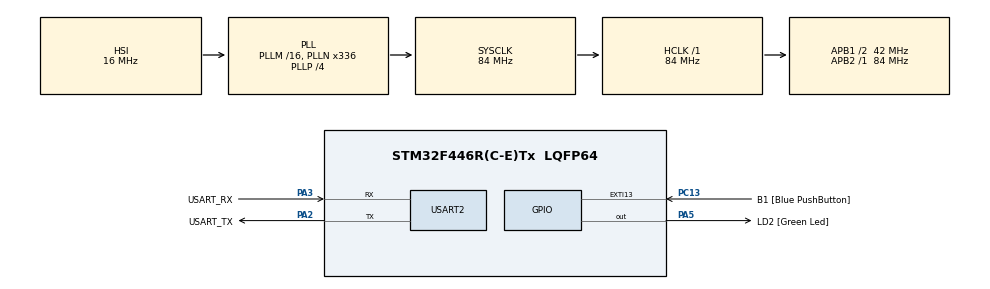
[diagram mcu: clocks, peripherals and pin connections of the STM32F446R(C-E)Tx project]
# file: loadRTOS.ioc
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Mcu.Family=STM32F4
Mcu.Name=STM32F446R(C-E)Tx
Mcu.Package=LQFP64
NVIC.PriorityGroup=NVIC_PRIORITYGROUP_0
NVIC.TIM1_UP_TIM10_IRQn=true\:0\:0\:false\:false\:true\:false\:true\:true
NVIC.TimeBase=TIM1_UP_TIM10_IRQn
NVIC.TimeBaseIP=TIM1
PA13.GPIO_Label=TMS
PA13.Mode=Serial_Wire
PA13.Signal=SYS_JTMS-SWDIO
PA14.GPIO_Label=TCK
PA14.Mode=Serial_Wire
PA14.Signal=SYS_JTCK-SWCLK
PA2.GPIO_Label=USART_TX
PA2.Mode=Asynchronous
PA2.Signal=USART2_TX
PA3.GPIO_Label=USART_RX
PA3.Mode=Asynchronous
PA3.Signal=USART2_RX
PA5.GPIO_Label=LD2 [Green Led]
PA5.Signal=GPIO_Output
PB3.GPIO_Label=SWO
PB3.Signal=SYS_JTDO-SWO
PC13.GPIO_Label=B1 [Blue PushButton]
PC13.GPIO_ModeDefaultEXTI=GPIO_MODE_IT_FALLING
PC13.Signal=GPXTI13
PC14-OSC32_IN.Mode=LSE-External-Oscillator
PC14-OSC32_IN.Signal=RCC_OSC32_IN
PC15-OSC32_OUT.Mode=LSE-External-Oscillator
PC15-OSC32_OUT.Signal=RCC_OSC32_OUT
PH0-OSC_IN.Mode=HSE-External-Oscillator
PH0-OSC_IN.Signal=RCC_OSC_IN
PH1-OSC_OUT.Mode=HSE-External-Oscillator
PH1-OSC_OUT.Signal=RCC_OSC_OUT
ProjectManager.HeapSize=0x200
ProjectManager.StackSize=0x400
ProjectManager.TargetToolchain=STM32CubeIDE
RCC.48MHZClocksFreq_Value=84000000
RCC.AHBFreq_Value=84000000
RCC.APB1CLKDivider=RCC_HCLK_DIV2
RCC.APB1Freq_Value=42000000
RCC.APB1TimFreq_Value=84000000
RCC.APB2Freq_Value=84000000
RCC.APB2TimFreq_Value=84000000
RCC.CortexFreq_Value=84000000
RCC.FLatency-AdvancedSettings=FLASH_LATENCY_2
RCC.HCLKFreq_Value=84000000
RCC.HSE_VALUE=8000000
RCC.HSI_VALUE=16000000
RCC.PLLN=336
RCC.PLLP=RCC_PLLP_DIV4
RCC.SYSCLKFreq_VALUE=84000000
RCC.SYSCLKSource=RCC_SYSCLKSOURCE_PLLCLK
RCC.USBFreq_Value=168000000
RCC.VCOOutputFreq_Value=336000000
USART2.VirtualMode=VM_ASYNC
VP_SYS_VS_tim1.Mode=TIM1
board=NUCLEO-F446RE

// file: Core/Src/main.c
#include<stm32f4xx_hal.h>
#include "ledBlink.h"
/* USER CODE BEGIN Header */
/**
  ******************************************************************************
  * @file           : main.c
  * @brief          : Main program body
  ******************************************************************************
  * @attention
  *
  * Copyright (c) 2026 STMicroelectronics.
  * All rights reserved.
  *
  * This software is licensed under terms that can be found in the LICENSE file
  * in the root directory of this software component.
  * If no LICENSE file comes with this software, it is provided AS-IS.
  *
  ******************************************************************************
  */
/* USER CODE END Header */
#include "main.h"

UART_HandleTypeDef huart2;

void SystemClock_Config(void);
static void MX_GPIO_Init(void);
static void MX_USART2_UART_Init(void);

int main(void)
{
  /* USER CODE BEGIN 1 */
	LED_init();
  /* USER CODE END 1 */

  /* MCU Configuration--------------------------------------------------------*/

  /* Reset of all peripherals, Initializes the Flash interface and the Systick. */
  HAL_Init();

  /* Configure the system clock */
  SystemClock_Config();

  /* Initialize all configured peripherals */
  MX_GPIO_Init();
  MX_USART2_UART_Init();

  /* Infinite loop */
  while (1)
  {

    /* USER CODE BEGIN 3 */
	  HAL_GPIO_TogglePin(GPIOC,GPIO_PIN_11);
	  HAL_Delay(100);
  }
  /* USER CODE END 3 */
}

void SystemClock_Config(void)
{
  RCC_OscInitTypeDef RCC_OscInitStruct = {0};
  RCC_ClkInitTypeDef RCC_ClkInitStruct = {0};

  /** Configure the main internal regulator output voltage
  */
  __HAL_RCC_PWR_CLK_ENABLE();
  __HAL_PWR_VOLTAGESCALING_CONFIG(PWR_REGULATOR_VOLTAGE_SCALE3);

  /** Initializes the RCC Oscillators according to the specified parameters
  * in the RCC_OscInitTypeDef structure.
  */
  RCC_OscInitStruct.OscillatorType = RCC_OSCILLATORTYPE_HSI;
  RCC_OscInitStruct.HSIState = RCC_HSI_ON;
  RCC_OscInitStruct.HSICalibrationValue = RCC_HSICALIBRATION_DEFAULT;
  RCC_OscInitStruct.PLL.PLLState = RCC_PLL_ON;
  RCC_OscInitStruct.PLL.PLLSource = RCC_PLLSOURCE_HSI;
  RCC_OscInitStruct.PLL.PLLM = 16;
  RCC_OscInitStruct.PLL.PLLN = 336;
  RCC_OscInitStruct.PLL.PLLP = RCC_PLLP_DIV4;
  RCC_OscInitStruct.PLL.PLLQ = 2;
  RCC_OscInitStruct.PLL.PLLR = 2;
  if (HAL_RCC_OscConfig(&RCC_OscInitStruct) != HAL_OK)
  {
    Error_Handler();
  }

  /** Initializes the CPU, AHB and APB buses clocks
  */
  RCC_ClkInitStruct.ClockType = RCC_CLOCKTYPE_HCLK|RCC_CLOCKTYPE_SYSCLK
                              |RCC_CLOCKTYPE_PCLK1|RCC_CLOCKTYPE_PCLK2;
  RCC_ClkInitStruct.SYSCLKSource = RCC_SYSCLKSOURCE_PLLCLK;
  RCC_ClkInitStruct.AHBCLKDivider = RCC_SYSCLK_DIV1;
  RCC_ClkInitStruct.APB1CLKDivider = RCC_HCLK_DIV2;
  RCC_ClkInitStruct.APB2CLKDivider = RCC_HCLK_DIV1;

  if (HAL_RCC_ClockConfig(&RCC_ClkInitStruct, FLASH_LATENCY_2) != HAL_OK)
  {
    Error_Handler();
  }
}

static void MX_USART2_UART_Init(void)
{

  huart2.Instance = USART2;
  huart2.Init.BaudRate = 115200;
  huart2.Init.WordLength = UART_WORDLENGTH_8B;
  huart2.Init.StopBits = UART_STOPBITS_1;
  huart2.Init.Parity = UART_PARITY_NONE;
  huart2.Init.Mode = UART_MODE_TX_RX;
  huart2.Init.HwFlowCtl = UART_HWCONTROL_NONE;
  huart2.Init.OverSampling = UART_OVERSAMPLING_16;
  if (HAL_UART_Init(&huart2) != HAL_OK)
  {
    Error_Handler();
  }

}

static void MX_GPIO_Init(void)
{
  GPIO_InitTypeDef GPIO_InitStruct = {0};

  /* GPIO Ports Clock Enable */
  __HAL_RCC_GPIOC_CLK_ENABLE();
  __HAL_RCC_GPIOH_CLK_ENABLE();
  __HAL_RCC_GPIOA_CLK_ENABLE();
  __HAL_RCC_GPIOB_CLK_ENABLE();

  /*Configure GPIO pin Output Level */
  HAL_GPIO_WritePin(LD2_GPIO_Port, LD2_Pin, GPIO_PIN_RESET);

  /*Configure GPIO pin : B1_Pin */
  GPIO_InitStruct.Pin = B1_Pin;
  GPIO_InitStruct.Mode = GPIO_MODE_IT_FALLING;
  GPIO_InitStruct.Pull = GPIO_NOPULL;
  HAL_GPIO_Init(B1_GPIO_Port, &GPIO_InitStruct);

  /*Configure GPIO pin : LD2_Pin */
  GPIO_InitStruct.Pin = LD2_Pin;
  GPIO_InitStruct.Mode = GPIO_MODE_OUTPUT_PP;
  GPIO_InitStruct.Pull = GPIO_NOPULL;
  GPIO_InitStruct.Speed = GPIO_SPEED_FREQ_LOW;
  HAL_GPIO_Init(LD2_GPIO_Port, &GPIO_InitStruct);

}

/* USER CODE BEGIN 4 */
void LED_init(void){
GPIO_InitTypeDef GPIOstruct={0};
//assign the clock to the LED PORT
__HAL_RCC_GPIOC_CLK_ENABLE();
GPIOstruct.Pin=LED_PIN;
GPIOstruct.Mode=GPIO_MODE_OUTPUT_PP;
GPIOstruct.Pull=GPIO_NOPULL;
GPIOstruct.Speed=GPIO_SPEED_FREQ_LOW;
HAL_GPIO_Init(LED_PORT,&GPIOstruct);

//assign the clock to the LED PORT
__HAL_RCC_GPIOC_CLK_ENABLE();
GPIOstruct.Pin=LED_PIN2;
GPIOstruct.Mode=GPIO_MODE_OUTPUT_PP;
GPIOstruct.Pull=GPIO_NOPULL;
GPIOstruct.Speed=GPIO_SPEED_FREQ_LOW;
HAL_GPIO_Init(LED_PORT,&GPIOstruct);
}
/* USER CODE END 4 */

void HAL_TIM_PeriodElapsedCallback(TIM_HandleTypeDef *htim)
{
  if (htim->Instance == TIM1) {
    HAL_IncTick();
  }
}

void Error_Handler(void)
{
  __disable_irq();
  while (1)
  {
  }
}
